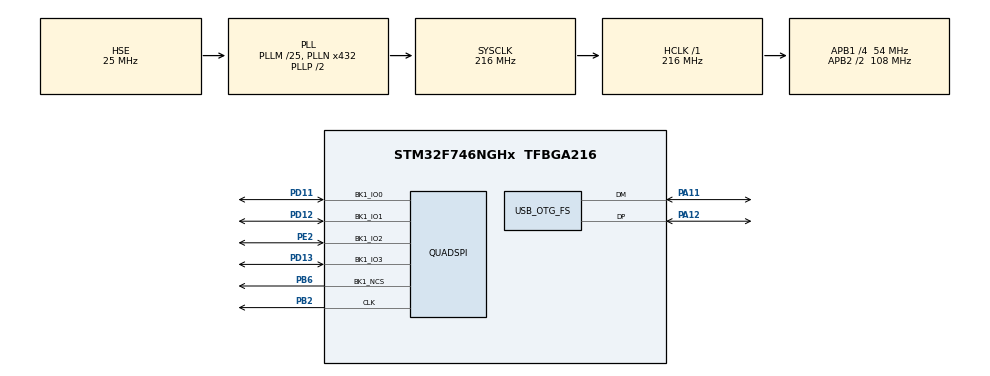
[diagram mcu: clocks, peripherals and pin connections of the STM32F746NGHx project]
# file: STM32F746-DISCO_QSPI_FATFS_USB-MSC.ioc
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FATFS._MAX_SS=4096
FATFS._USE_LFN=1
Mcu.Family=STM32F7
Mcu.Name=STM32F746NGHx
Mcu.Package=TFBGA216
NVIC.OTG_FS_IRQn=true\:2\:0\:true\:false\:true\:false\:true
NVIC.PriorityGroup=NVIC_PRIORITYGROUP_4
PA11.Mode=Device_Only
PA11.Signal=USB_OTG_FS_DM
PA12.Mode=Device_Only
PA12.Signal=USB_OTG_FS_DP
PA13.Mode=Trace_Asynchronous_SW
PA13.Signal=SYS_JTMS-SWDIO
PA14.Mode=Trace_Asynchronous_SW
PA14.Signal=SYS_JTCK-SWCLK
PB2.Mode=Single Bank 1
PB2.Signal=QUADSPI_CLK
PB3.Mode=Trace_Asynchronous_SW
PB3.Signal=SYS_JTDO-SWO
PB6.Mode=Single Bank 1
PB6.Signal=QUADSPI_BK1_NCS
PD11.Mode=Single Bank 1
PD11.Signal=QUADSPI_BK1_IO0
PD12.Mode=Single Bank 1
PD12.Signal=QUADSPI_BK1_IO1
PD13.Mode=Single Bank 1
PD13.Signal=QUADSPI_BK1_IO3
PE2.Mode=Single Bank 1
PE2.Signal=QUADSPI_BK1_IO2
PH0/OSC_IN.Mode=HSE-External-Oscillator
PH0/OSC_IN.Signal=RCC_OSC_IN
PH1/OSC_OUT.Mode=HSE-External-Oscillator
PH1/OSC_OUT.Signal=RCC_OSC_OUT
ProjectManager.HeapSize=0x2000
ProjectManager.StackSize=0x4000
ProjectManager.TargetToolchain=STM32CubeIDE
QUADSPI.ClockPrescaler=3
QUADSPI.FifoThreshold=4
QUADSPI.FlashSize=27
RCC.AHBFreq_Value=216000000
RCC.APB1CLKDivider=RCC_HCLK_DIV4
RCC.APB1Freq_Value=54000000
RCC.APB1TimFreq_Value=108000000
RCC.APB2CLKDivider=RCC_HCLK_DIV2
RCC.APB2Freq_Value=108000000
RCC.APB2TimFreq_Value=216000000
RCC.CortexFreq_Value=216000000
RCC.HCLKFreq_Value=216000000
RCC.HSE_VALUE=25000000
RCC.HSI_VALUE=16000000
RCC.LSE_VALUE=32768
RCC.PLLM=25
RCC.PLLN=432
RCC.PLLQ=9
RCC.SYSCLKFreq_VALUE=216000000
RCC.SYSCLKSource=RCC_SYSCLKSOURCE_PLLCLK
RCC.USBFreq_Value=48000000
RCC.VCOOutputFreq_Value=432000000
USB_DEVICE.CLASS_NAME_FS=MSC
USB_DEVICE.MSC_MEDIA_PACKET-MSC_FS=4096
USB_DEVICE.VirtualMode-MSC_FS=Msc
USB_DEVICE.VirtualModeFS=Msc_FS
USB_OTG_FS.VirtualMode=Device_Only
VP_FATFS_VS_Generic.Mode=User_defined
VP_USB_DEVICE_VS_USB_DEVICE_MSC_FS.Mode=MSC_FS
board=custom

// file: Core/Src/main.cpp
/* USER CODE BEGIN Header */
/**
  ******************************************************************************
  * @file           : main.c
  * @brief          : Main program body
  ******************************************************************************
  * @attention
  *
  * <h2><center>&copy; Copyright (c) 2021 STMicroelectronics.
  * All rights reserved.</center></h2>
  *
  * This software component is licensed by ST under BSD 3-Clause license,
  * the "License"; You may not use this file except in compliance with the
  * License. You may obtain a copy of the License at:
  *                        opensource.org/licenses/BSD-3-Clause
  *
  ******************************************************************************
  */
/* USER CODE END Header */
#include "main.h"
#include "fatfs.h"
#include "usb_device.h"

/* USER CODE BEGIN Includes */
#include "tc58cvg1_qspi.h"
#include <stdio.h>
#include "DharaFTL.hpp"
#include "NandExample.hpp"

/* USER CODE END Includes */

/* USER CODE BEGIN PD */
#define USE_WRITE_TEST 0
#define USE_READ_TEST 1
/* USER CODE END PD */

QSPI_HandleTypeDef hqspi;

/* USER CODE BEGIN PV */
extern "C"
{
/* USER CODE END PV */

void SystemClock_Config(void);
static void MX_GPIO_Init(void);
static void MX_QUADSPI_Init(void);
/* USER CODE BEGIN PFP */

static void Dhara_Init(void);

int __io_putchar(int ch)
{
	ITM_SendChar(ch);
	return ch;
}

}

char buffer[128] = "QSPI test with FAT_FS";
char ReadBuffer[128] = {0xAA};

/* USER CODE END PFP */

/* USER CODE BEGIN 0 */
static FRESULT Status;
static UINT control;
DharaFTL Map;

/* USER CODE END 0 */

int main(void)
{

  /* MCU Configuration--------------------------------------------------------*/

  /* Reset of all peripherals, Initializes the Flash interface and the Systick. */
  HAL_Init();

  /* Configure the system clock */
  SystemClock_Config();

  /* Initialize all configured peripherals */
  MX_GPIO_Init();
  MX_QUADSPI_Init();
  MX_USB_DEVICE_Init();
  MX_FATFS_Init();
  /* USER CODE BEGIN 2 */

  Dhara_Init();

  	for (uint8_t i = 0; i < 3; i++)
  	{
		if ((Status = f_mount(&USERFatFS, "0", 1)) == FR_OK)
		{
		  printf("Mounted!\r\n");

#if USE_WRITE_TEST != 0
		  if (f_open(&USERFile, "Test.txt", FA_WRITE | FA_CREATE_ALWAYS) == FR_OK)
		  {
			  printf("File opened!\r\n");
			  if (f_write(&USERFile, buffer, sizeof(buffer), &control) == FR_OK)
			  {
				  printf("Write success!\r\n");
			  }
			  else
			  {
				  printf("Write failed!\r\n");
			  }

			  if (f_close(&USERFile) == FR_OK)
			  {
				  printf("File was closed!\r\n");
			  }
			  else
			  {
				  printf("File was not closed!\r\n");
			  }
		  }
		  else
		  {
			  printf("File was not opened!\r\n");
		  }
#endif

#if USE_READ_TEST != 0
		  if (f_open(&USERFile, "Test.txt", FA_READ) == FR_OK)
		  {
			  printf("File opened!\r\n");

			  if (f_read(&USERFile, ReadBuffer, sizeof(buffer), &control) == FR_OK)
			  {
				  printf("Read success!\r\n");
			  }
			  else
			  {
				  printf("Read failed!\r\n");
			  }

			  if (f_close(&USERFile) == FR_OK)
			  {
				  printf("File was closed!\r\n");
			  }
			  else
			  {
				  printf("File was not closed!\r\n");
			  }
		  }
		  else
		  {
			  printf("File was not opened!\r\n");
		  }
#endif

		  break;
		}
		else
		{
		  uint8_t buf[4096];
		  Status = f_mkfs("0", 1, 0, buf, sizeof(buf));
		  printf("Not mounted!\r\n");
		}
  	}

  /* USER CODE END 2 */

  /* Infinite loop */
  while (1)
  {

  }
}

void SystemClock_Config(void)
{
  RCC_OscInitTypeDef RCC_OscInitStruct = {0};
  RCC_ClkInitTypeDef RCC_ClkInitStruct = {0};

  /** Configure the main internal regulator output voltage
  */
  __HAL_RCC_PWR_CLK_ENABLE();
  __HAL_PWR_VOLTAGESCALING_CONFIG(PWR_REGULATOR_VOLTAGE_SCALE1);
  /** Initializes the RCC Oscillators according to the specified parameters
  * in the RCC_OscInitTypeDef structure.
  */
  RCC_OscInitStruct.OscillatorType = RCC_OSCILLATORTYPE_HSE;
  RCC_OscInitStruct.HSEState = RCC_HSE_ON;
  RCC_OscInitStruct.PLL.PLLState = RCC_PLL_ON;
  RCC_OscInitStruct.PLL.PLLSource = RCC_PLLSOURCE_HSE;
  RCC_OscInitStruct.PLL.PLLM = 25;
  RCC_OscInitStruct.PLL.PLLN = 432;
  RCC_OscInitStruct.PLL.PLLP = RCC_PLLP_DIV2;
  RCC_OscInitStruct.PLL.PLLQ = 9;
  if (HAL_RCC_OscConfig(&RCC_OscInitStruct) != HAL_OK)
  {
    Error_Handler();
  }
  /** Activate the Over-Drive mode
  */
  if (HAL_PWREx_EnableOverDrive() != HAL_OK)
  {
    Error_Handler();
  }
  /** Initializes the CPU, AHB and APB buses clocks
  */
  RCC_ClkInitStruct.ClockType = RCC_CLOCKTYPE_HCLK|RCC_CLOCKTYPE_SYSCLK
                              |RCC_CLOCKTYPE_PCLK1|RCC_CLOCKTYPE_PCLK2;
  RCC_ClkInitStruct.SYSCLKSource = RCC_SYSCLKSOURCE_PLLCLK;
  RCC_ClkInitStruct.AHBCLKDivider = RCC_SYSCLK_DIV1;
  RCC_ClkInitStruct.APB1CLKDivider = RCC_HCLK_DIV4;
  RCC_ClkInitStruct.APB2CLKDivider = RCC_HCLK_DIV2;

  if (HAL_RCC_ClockConfig(&RCC_ClkInitStruct, FLASH_LATENCY_7) != HAL_OK)
  {
    Error_Handler();
  }
}

static void MX_QUADSPI_Init(void)
{

  /* QUADSPI parameter configuration*/
  hqspi.Instance = QUADSPI;
  hqspi.Init.ClockPrescaler = 3;
  hqspi.Init.FifoThreshold = 4;
  hqspi.Init.SampleShifting = QSPI_SAMPLE_SHIFTING_NONE;
  hqspi.Init.FlashSize = 27;
  hqspi.Init.ChipSelectHighTime = QSPI_CS_HIGH_TIME_1_CYCLE;
  hqspi.Init.ClockMode = QSPI_CLOCK_MODE_0;
  hqspi.Init.FlashID = QSPI_FLASH_ID_1;
  hqspi.Init.DualFlash = QSPI_DUALFLASH_DISABLE;
  if (HAL_QSPI_Init(&hqspi) != HAL_OK)
  {
    Error_Handler();
  }

}

static void MX_GPIO_Init(void)
{

  /* GPIO Ports Clock Enable */
  __HAL_RCC_GPIOE_CLK_ENABLE();
  __HAL_RCC_GPIOB_CLK_ENABLE();
  __HAL_RCC_GPIOA_CLK_ENABLE();
  __HAL_RCC_GPIOH_CLK_ENABLE();
  __HAL_RCC_GPIOD_CLK_ENABLE();

}

/* USER CODE BEGIN 4 */
static void Dhara_Init(void)
{
	constexpr uint32_t LOG_PAGE_SIZE = 512;
	constexpr uint32_t PHYSICAL_BLOCK_SIZE = 128 * 1024;
	constexpr uint32_t PAGES_PER_BLOCK = PHYSICAL_BLOCK_SIZE / LOG_PAGE_SIZE;

	static NandExample NandFtlDriver(POSITION_VAL(LOG_PAGE_SIZE), POSITION_VAL(PAGES_PER_BLOCK), 2048, &hqspi);
	static uint8_t page_buf[LOG_PAGE_SIZE];

	if (TC58CVG1_QSPI_UnlockAllBlocks(&hqspi))
	{
		printf("Failed to unlock blocks\n\r");
	}
	else
	{
		printf("Success unlocking blocks\n\r");
	}

	if (!TC58CVG1_QSPI_HoldDisable(&hqspi))
	{
		printf("Success hold disable!\r\n");
	}
	else
	{
		printf("Failed hold disable!\r\n");
	}

	//TC58CVG1_QSPI_EraseChip(&hqspi);

	printf("Map init\n");

	if (Map.Init(&NandFtlDriver, page_buf, 4))
	{
		printf("Map init error\r\n");
	}
	else
	{
		printf("Map init success\r\n");
	}

	printf("Capacity: %lu\n", Map.GetBlockNum());
	printf("Memory size: %lu\n", Map.GetMemSize());
}
/* USER CODE END 4 */

void Error_Handler(void)
{
  __disable_irq();
  while (1)
  {
  }
}
